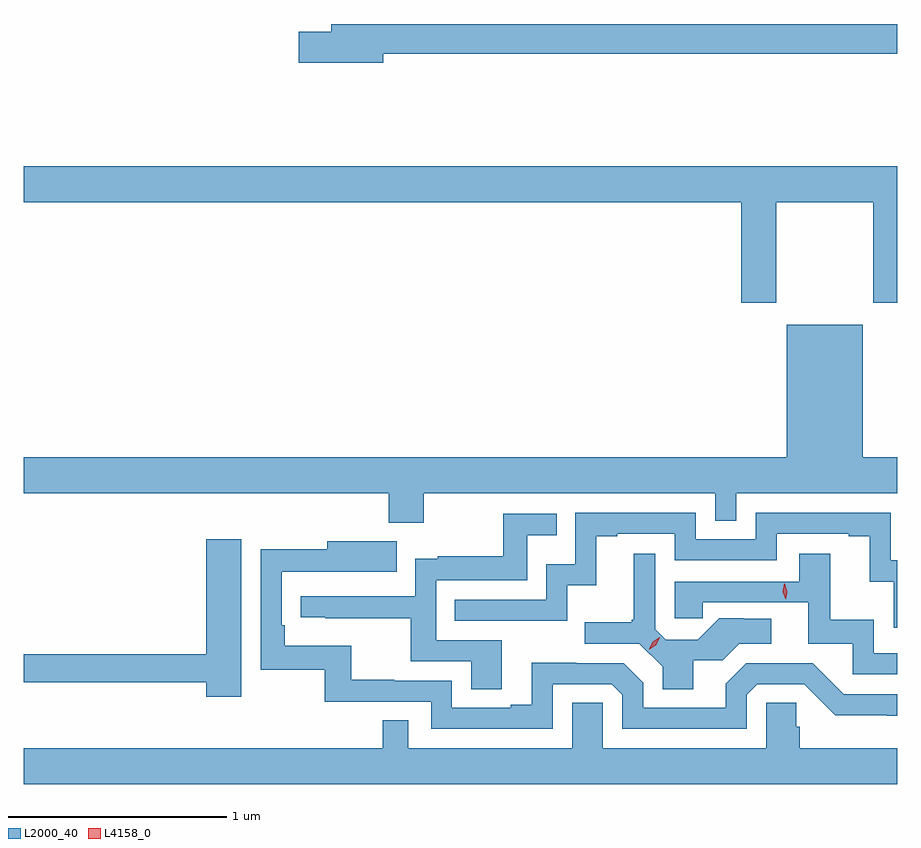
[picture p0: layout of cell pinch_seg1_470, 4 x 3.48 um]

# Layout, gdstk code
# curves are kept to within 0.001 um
import gdstk
lib = gdstk.Library(unit=1e-6, precision=1e-09)
def P(c, l, *ps):  # polygons
    for p in ps: c.add(gdstk.Polygon(p, *l))
L2000_40 = (2000, 40)
L4158_0 = (4158, 0)

pinch_seg1_470 = lib.new_cell('pinch_seg1_470')
P(pinch_seg1_470, L2000_40, [(1085.47,544.42),(1087.823,544.42),(1087.823,544.556),(1085.231,544.556),(1085.231,544.52),(1085.082,544.52),(1085.082,544.378),(1085.47,544.378)],
  [(1087.269,543.74),(1087.714,543.74),(1087.714,543.279),(1087.823,543.279),(1087.823,543.904),(1083.823,543.904),(1083.823,543.74),(1087.109,543.74),(1087.109,543.279),(1087.269,543.279)],
  [(1085.655,542.408),(1086.99,542.408),(1086.99,542.281),(1087.086,542.281),(1087.086,542.408),(1087.823,542.408),(1087.823,542.572),(1087.666,542.572),(1087.666,543.178),(1087.316,543.178),(1087.316,542.572),(1083.823,542.572),(1083.823,542.408),(1085.495,542.408),(1085.495,542.273),(1085.655,542.273)],
  [(1087.823,542.1),(1087.794,542.1),(1087.794,542.319),(1087.176,542.319),(1087.176,542.196),(1086.9,542.196),(1086.9,542.319),(1086.348,542.319),(1086.348,542.083),(1086.216,542.083),(1086.216,541.92),(1085.797,541.92),(1085.797,541.824),(1086.312,541.824),(1086.312,541.985),(1086.445,541.985),(1086.445,542.211),(1086.541,542.211),(1086.541,542.223),(1086.804,542.223),(1086.804,542.1),(1087.272,542.1),(1087.272,542.223),(1087.601,542.223),(1087.601,542.211),(1087.697,542.211),(1087.697,542.003),(1087.806,542.003),(1087.806,541.791),(1087.823,541.791)],
  [(1086.013,541.734),(1085.712,541.734),(1085.712,542.01),(1086.129,542.01),(1086.129,542.216),(1086.263,542.216),(1086.263,542.313),(1086.018,542.313),(1086.018,542.119),(1085.719,542.119),(1085.719,542.107),(1085.616,542.107),(1085.616,541.935),(1085.091,541.935),(1085.091,541.839),(1085.203,541.839),(1085.203,541.834),(1085.596,541.834),(1085.596,541.638),(1085.873,541.638),(1085.873,541.51),(1086.013,541.51)],
  [(1084.819,542.197),(1084.658,542.197),(1084.658,541.67),(1083.823,541.67),(1083.823,541.542),(1084.658,541.542),(1084.658,541.476),(1084.819,541.476)],
  [(1086.246,541.533),(1086.516,541.533),(1086.564,541.485),(1086.564,541.329),(1087.134,541.329),(1087.134,541.485),(1087.182,541.533),(1087.398,541.533),(1087.54,541.391),(1087.776,541.391),(1087.776,541.389),(1087.823,541.389),(1087.823,541.488),(1087.578,541.488),(1087.437,541.629),(1087.131,541.629),(1087.037,541.535),(1087.037,541.425),(1086.66,541.425),(1086.66,541.539),(1086.57,541.629),(1086.354,541.629),(1086.354,541.631),(1086.149,541.631),(1086.149,541.438),(1086.053,541.438),(1086.053,541.425),(1085.784,541.425),(1085.784,541.548),(1085.519,541.548),(1085.519,541.553),(1085.323,541.553),(1085.323,541.708),(1085.018,541.708),(1085.018,541.804),(1085.004,541.804),(1085.004,542.049),(1085.531,542.048),(1085.531,542.188),(1085.213,542.188),(1085.213,542.15),(1084.908,542.15),(1084.908,541.599),(1085.202,541.599),(1085.202,541.452),(1085.688,541.452),(1085.688,541.329),(1086.246,541.329)],
  [(1087.823,541.674),(1087.716,541.674),(1087.716,541.828),(1087.517,541.828),(1087.517,542.131),(1087.373,542.131),(1087.373,542.001),(1086.803,542.001),(1086.803,541.834),(1086.933,541.834),(1086.933,541.909),(1087.415,541.909),(1087.415,541.719),(1087.62,541.719),(1087.62,541.578),(1087.823,541.578)],
  [(1086.889,541.642),(1087.024,541.642),(1087.1,541.718),(1087.246,541.718),(1087.246,541.833),(1087.007,541.834),(1086.91,541.737),(1086.762,541.737),(1086.714,541.785),(1086.714,542.131),(1086.617,542.131),(1086.617,541.828),(1086.606,541.828),(1086.606,541.816),(1086.393,541.816),(1086.393,541.719),(1086.642,541.719),(1086.749,541.612),(1086.749,541.51),(1086.889,541.51)],
  [(1087.823,541.24),(1087.376,541.24),(1087.376,541.338),(1087.361,541.338),(1087.361,541.448),(1087.224,541.448),(1087.224,541.24),(1086.474,541.24),(1086.474,541.448),(1086.335,541.448),(1086.335,541.24),(1085.583,541.24),(1085.583,541.367),(1085.467,541.367),(1085.467,541.24),(1083.823,541.24),(1083.823,541.076),(1087.823,541.076)])
P(pinch_seg1_470, L4158_0, [(1086.688,541.693),(1086.688,541.693),(1086.704,541.727),(1086.735,541.748),(1086.735,541.748),(1086.735,541.747),(1086.72,541.714),(1086.689,541.693)],
  [(1087.312,541.921),(1087.312,541.921),(1087.299,541.956),(1087.306,541.992),(1087.306,541.992),(1087.307,541.992),(1087.319,541.957),(1087.312,541.921)])

lib.write_gds('pinch_seg1_470.gds')
